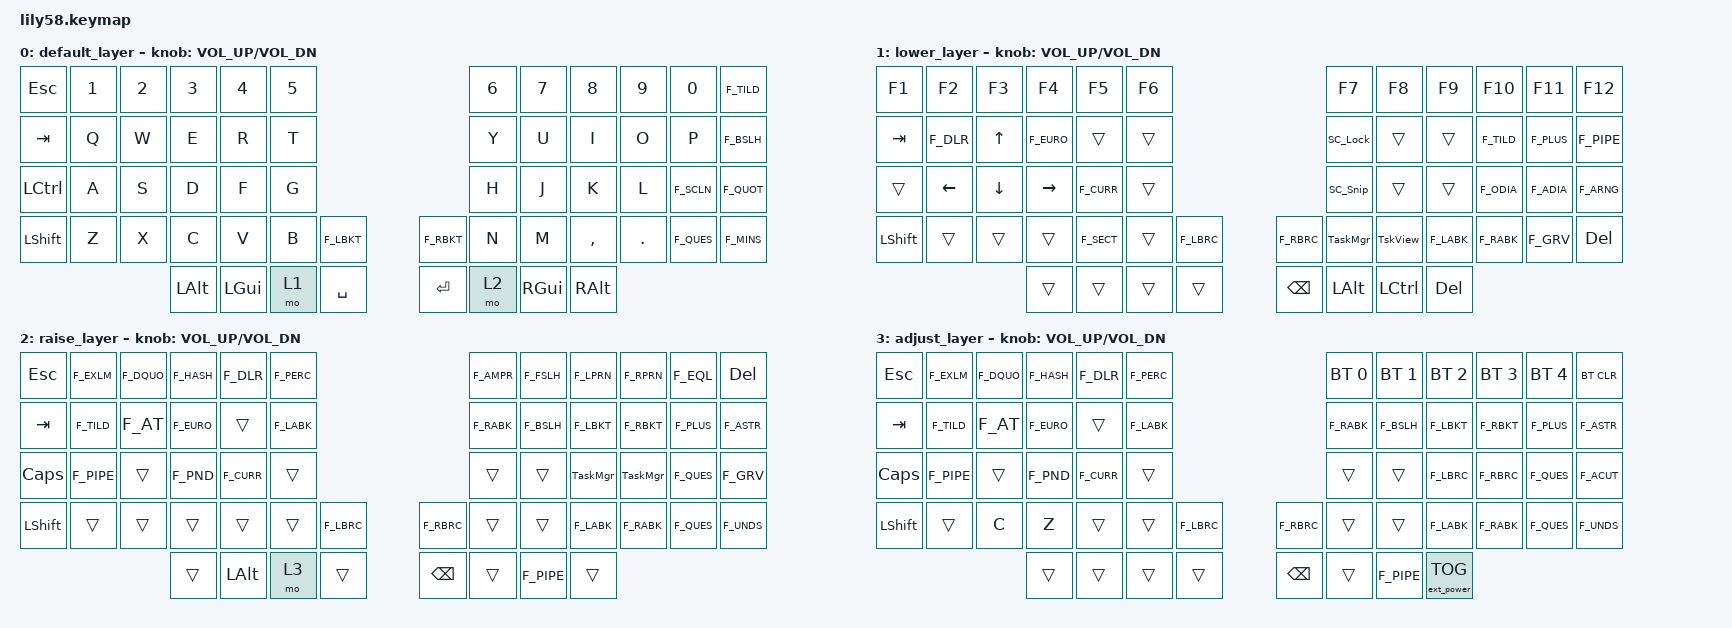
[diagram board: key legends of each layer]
/*
 * Copyright (c) 2020 The ZMK Contributors
 *
 * SPDX-License-Identifier: MIT
 */

#include <behaviors.dtsi>
#include <dt-bindings/zmk/keys.h>
#include <dt-bindings/zmk/bt.h>
#include <dt-bindings/zmk/ext_power.h>
#include "definitions.h"
#include <dt-bindings/zmk/bt.h>
#include <dt-bindings/zmk/ext_power.h>

/ {
    keymap {
        compatible = "zmk,keymap";

        default_layer {
            // ------------------------------------------------------------------------------------------------------------
            // |  ESC  |  1  |  2  |  3   |  4   |  5   |                   |  6   |  7    |  8    |  9   |   0   |   ~   |
            // |  TAB  |  Q  |  W  |  E   |  R   |  T   |                   |  Y   |  U    |  I    |  O   |   P   |   \   |
            // |  CTRL |  A  |  S  |  D   |  F   |  G   |                   |  H   |  J    |  K    |  L   |   ;   |   '   |
            // | SHIFT |  Z  |  X  |  C   |  V   |  B   |   [   |  |   ]   |  N   |  M    |  ,    |  .   |   ?   |   -   |
            //                     | ALT  | GUI  | LOWER|  SPACE |  | ENTER | RAISE| GUI  | Alt   |
            bindings = <
                &kp ESC   &kp N1 &kp N2 &kp N3   &kp N4   &kp N5                     &kp N6 &kp N7   &kp N8    &kp N9  &kp N0  &kp F_TILD
                &kp TAB   &kp Q  &kp W  &kp E    &kp R    &kp T                      &kp Y  &kp U    &kp I     &kp O   &kp P    &kp F_BSLH 
                &kp LCTRL &kp A  &kp S  &kp D    &kp F    &kp G                      &kp H  &kp J    &kp K     &kp L  &kp F_SCLN &kp F_QUOT
                &kp LSHFT &kp Z  &kp X  &kp C    &kp V    &kp B  &kp F_LBKT    &kp F_RBKT  &kp N  &kp M    &kp COMMA &kp DOT &kp F_QUES &kp F_MINS
                &kp LALT  &kp LGUI &mo 1  &kp SPACE &kp RET  &mo 2  &kp RGUI &kp RALT
            >;

            sensor-bindings = <&inc_dec_kp C_VOL_UP C_VOL_DN>;
        };

        lower_layer {
            // ------------------------------------------------------------------------------------------------------------
            // |  F1   |  F2 |  F3  |  F4  |  F5  |  F6  |                   |  F7  |  F8   |  F9   |  F10 |  F11  |  F12  |
            // |  TAB  |  $  |  UP  |  €   |      |      |                   |SC_Lock|       |       |  ~   |   +   |   |   |
            // |       | LEFT| DOWN | RIGHT|      |      |                   |SC_Snip|       |       |  Ö   |   Ä   |   Å   |
            // | SHIFT |     |      |      |      |      |   {   |  |   }   | TaskM|TskView|   <   |   >  |   `   |  DEL  |
            //                     |      |      |      |        |  | BSPC  | ALT  | CTRL  |  DEL  |
            bindings = <
                &kp F1  &kp F2  &kp F3   &kp F4   &kp F5   &kp F6                     &kp F7   &kp F8   &kp F9   &kp F10  &kp F11  &kp F12
                &kp TAB  &kp F_DLR  &kp UP   &kp F_EURO   &trans  &trans                    &kp SC_Lock  &trans  &trans   &kp F_TILD   &kp F_PLUS &kp F_PIPE
                &trans &kp LEFT &kp DOWN &kp RIGHT &kp F_CURR   &trans                  &kp SC_Snip  &trans  &trans   &kp F_ODIA &kp F_ADIA &kp F_ARNG
                &kp LSHFT &trans  &trans   &trans   &kp F_SECT  &trans  &kp F_LBRC   &kp F_RBRC  &kp TaskMgr  &kp TskView   &kp F_LABK &kp F_RABK &kp F_GRV &kp DEL
                &trans &trans &trans &trans &kp BSPC &kp LALT &kp LCTRL &kp DEL
            >;

            sensor-bindings = <&inc_dec_kp C_VOL_UP C_VOL_DN>;
        };

        raise_layer {
            // ------------------------------------------------------------------------------------------------------------
            // |  ESC   |  !  |  "  |  #  |  $  |  %  |                        |  &  |  /  |  (  |  )  |  =  |  DEL  |
            // |  TAB  |  ~  |  @  |  €  |     |  <  |                        |  >  |  \  |  [  |  ]  |  +  |  *   |
            // | CAPS  |  |  |     |  £  |  ¤  |     |                        |     |     |  {  |  }  |  ?  |   `   |
            // | SHIFT |     |     |     |     |     |   {   |  |   }   |     |     |   <  |   >  |   ?  |   _   |
            //                     |      | ALT  |      |        |  | BSPC  |      |   |   |       |
            bindings = <
                &kp ESC   &kp F_EXLM &kp F_DQUO &kp F_HASH &kp F_DLR  &kp F_PERC &kp F_AMPR &kp F_FSLH  &kp F_LPRN &kp F_RPRN &kp F_EQL  &kp DEL
                &kp TAB &kp F_TILD &kp F_AT   &kp F_EURO &trans     &kp F_LABK &kp F_RABK &kp F_BSLH  &kp F_LBKT &kp F_RBKT &kp F_PLUS &kp F_ASTR
                &kp CAPS  &kp F_PIPE &trans     &kp F_PND  &kp F_CURR &trans     &trans     &trans     &kp TaskMgr &kp TaskMgr   &kp F_QUES &kp F_GRV
                &kp LSHFT &trans  &trans   &trans   &trans  &trans  &kp F_LBRC   &kp F_RBRC  &trans  &trans   &kp F_LABK &kp F_RABK &kp F_QUES   &kp F_UNDS
                &trans &kp LALT &mo 3 &trans &kp BSPC &trans &kp F_PIPE &trans
            >;

            sensor-bindings = <&inc_dec_kp C_VOL_UP C_VOL_DN>;
        };

        adjust_layer {
            // ------------------------------------------------------------------------------------------------------------
            // |  ESC   |  !  |  "  |  #  |  $  |  %  |                        | BT1  | BT2  | BT3  | BT4  | BT5  | BT CLR |
            // |  TAB  |  ~  |  @  |  €  |     |  <  |                        |  >   |  \   |  [   |  ]   |  +   |  *   |
            // | CAPS  |  |  |     |  £  |  ¤  |     |                        |      |      |  {   |  }   |  ?   |   ´   |
            // | SHIFT |     |  C  |  Z   |     |     |   {   |  |   }   |     |     |   <  |   >  |   ?  |   _   |
            //                     |      |      |      |        |  | BSPC  |      |   |   | POWER |
            bindings = <
                &kp ESC   &kp F_EXLM &kp F_DQUO &kp F_HASH &kp F_DLR  &kp F_PERC  &bt BT_SEL 0 &bt BT_SEL 1 &bt BT_SEL 2 &bt BT_SEL 3 &bt BT_SEL 4 &bt BT_CLR
                &kp TAB &kp F_TILD &kp F_AT   &kp F_EURO &trans     &kp F_LABK &kp F_RABK &kp F_BSLH  &kp F_LBKT &kp F_RBKT &kp F_PLUS &kp F_ASTR
                &kp CAPS  &kp F_PIPE &trans     &kp F_PND  &kp F_CURR &trans     &trans     &trans     &kp F_LBRC   &kp F_RBRC  &kp F_QUES &kp F_ACUT
                &kp LSHFT &trans  &kp C   &kp Z   &trans  &trans  &kp F_LBRC   &kp F_RBRC  &trans  &trans   &kp F_LABK &kp F_RABK &kp F_QUES   &kp F_UNDS
                &trans &trans &trans &trans &kp BSPC &trans &kp F_PIPE  &ext_power EP_TOG
            >;

            sensor-bindings = <&inc_dec_kp C_VOL_UP C_VOL_DN>;
        };

    };
};
